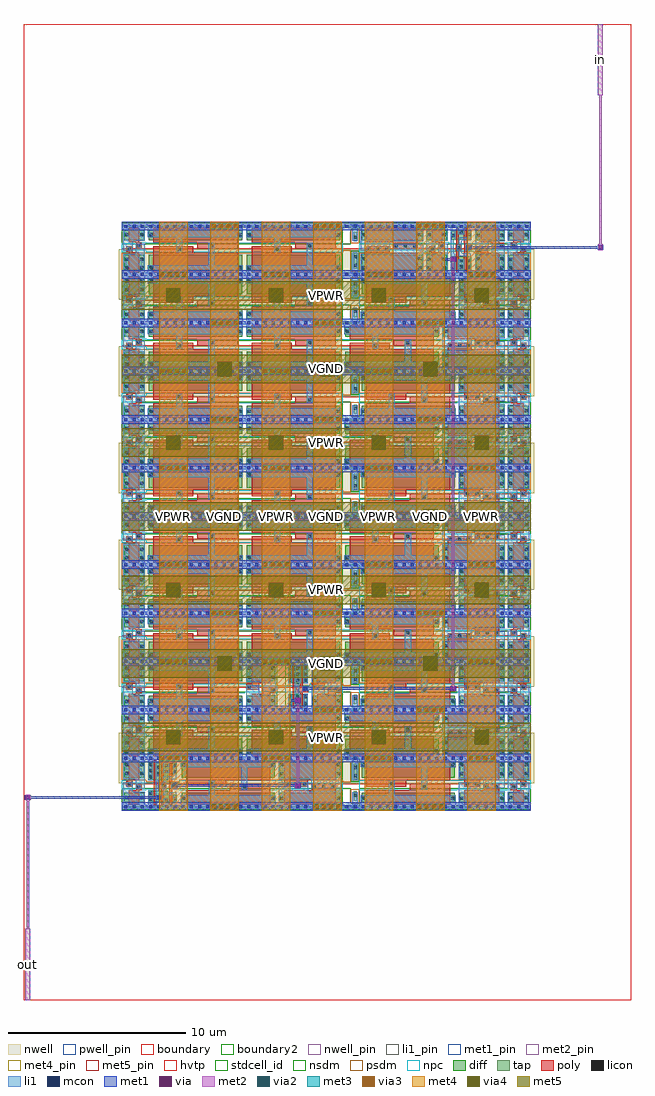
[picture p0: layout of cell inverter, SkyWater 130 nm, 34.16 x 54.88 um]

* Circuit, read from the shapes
.subckt inverter VGND VPWR in out
XM1 VGND VPWR VGND VGND sky130_fd_pr__nfet_01v8 w=0.55 l=0.59 m=25
XM2 VGND VPWR VGND VGND sky130_fd_pr__nfet_01v8 w=0.55 l=4.73 m=33
XM3 out n1 VGND VGND sky130_fd_pr__nfet_01v8 w=0.65 l=0.15 m=2
XM4 n1 sky130_fd_sc_hd__buf_2_4/A VGND VGND sky130_fd_pr__nfet_01v8 w=0.42 l=0.15
XM5 VGND VPWR VGND VGND sky130_fd_pr__nfet_01v8 w=0.55 l=1.05 m=3
XM6 VGND VPWR VGND VGND sky130_fd_pr__nfet_01v8 w=0.55 l=2.89 m=7
XM7 sky130_fd_sc_hd__buf_2_4/A sky130_fd_sc_hd__inv_2_20/A VGND VGND sky130_fd_pr__nfet_01v8 w=0.65 l=0.15 m=2
XM8 VGND n2 sky130_fd_sc_hd__inv_2_20/A VGND sky130_fd_pr__nfet_01v8 w=0.52 l=0.15
XM9 n2 in VGND VGND sky130_fd_pr__nfet_01v8 w=0.52 l=0.15
XM10 VGND VPWR VGND VGND sky130_fd_pr__nfet_01v8 w=0.55 l=1.97 m=6
XM11 VPWR VGND VPWR VPWR sky130_fd_pr__pfet_01v8_hvt w=0.87 l=0.59 m=25
XM12 VPWR VGND VPWR VPWR sky130_fd_pr__pfet_01v8_hvt w=0.87 l=4.73 m=33
XM13 out n1 VPWR VPWR sky130_fd_pr__pfet_01v8_hvt w=1 l=0.15 m=2
XM14 n1 sky130_fd_sc_hd__buf_2_4/A VPWR VPWR sky130_fd_pr__pfet_01v8_hvt w=0.64 l=0.15
XM15 VPWR VGND VPWR VPWR sky130_fd_pr__pfet_01v8_hvt w=0.87 l=1.05 m=3
XM16 VPWR VGND VPWR VPWR sky130_fd_pr__pfet_01v8_hvt w=0.87 l=2.89 m=7
XM17 sky130_fd_sc_hd__buf_2_4/A sky130_fd_sc_hd__inv_2_20/A VPWR VPWR sky130_fd_pr__pfet_01v8_hvt w=1 l=0.15 m=2
XM18 VPWR n2 sky130_fd_sc_hd__inv_2_20/A VPWR sky130_fd_pr__pfet_01v8_hvt w=0.79 l=0.15
XM19 n2 in VPWR VPWR sky130_fd_pr__pfet_01v8_hvt w=0.79 l=0.15
XM20 VPWR VGND VPWR VPWR sky130_fd_pr__pfet_01v8_hvt w=0.87 l=1.97 m=6
.ends

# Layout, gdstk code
from math import pi, radians
import gdstk
lib = gdstk.Library(unit=1e-6, precision=1e-09)
def R(c, l, rs):  # rectangles x0, y0, x1, y1
    for r in rs: c.add(gdstk.rectangle(r[:2], r[2:], *l))
def A(c, l, x, y, w, h, nx, ny, dx, dy):  # array of equal rectangles
    R(c, l, [(x+i*dx, y+j*dy, x+i*dx+w, y+j*dy+h) for i in range(nx) for j in range(ny)])
def P(c, l, *ps):  # polygons
    for p in ps: c.add(gdstk.Polygon(p, *l))
nwell_pin = (64, 16)
nwell = (64, 20)
diff = (65, 20)
tap = (65, 44)
poly = (66, 20)
licon = (66, 44)
li1_pin = (67, 16)
li1 = (67, 20)
mcon = (67, 44)
met1_pin = (68, 16)
met1 = (68, 20)
via = (68, 44)
met2_pin = (69, 16)
met2 = (69, 20)
via2 = (69, 44)
met3 = (70, 20)
via3 = (70, 44)
met4_pin = (71, 16)
met4 = (71, 20)
via4 = (71, 44)
met5_pin = (72, 16)
met5 = (72, 20)
hvtp = (78, 44)
stdcell_id = (81, 4)
nsdm = (93, 44)
psdm = (94, 20)
npc = (95, 20)
pwell_pin = (122, 16)
boundary = (235, 4)
boundary2 = (236, 0)

sky130_ef_sc_hd__decap_1 = lib.new_cell('sky130_ef_sc_hd__decap_12')
R(sky130_ef_sc_hd__decap_1, nwell_pin, [(0.145,2.635,0.315,2.805)])
R(sky130_ef_sc_hd__decap_1, nwell, [(-0.19,1.305,5.71,2.91)])
R(sky130_ef_sc_hd__decap_1, diff, [(0.135,0.235,5.385,0.785), (0.135,1.615,5.385,2.485)])
P(sky130_ef_sc_hd__decap_1, poly, [(5.125,2.615),(0.395,2.615),(0.395,1.125),(2.645,1.125),(2.645,1.485),(5.125,1.485)],
  [(5.125,1.275),(2.855,1.275),(2.855,0.915),(0.395,0.915),(0.395,0.105),(5.125,0.105)])
R(sky130_ef_sc_hd__decap_1, licon, [(0.175,0.39,0.345,0.56), (5.175,0.39,5.345,0.56), (3.575,1.025,3.745,1.195), (1.755,1.205,1.925,1.375), (0.175,2.255,0.345,2.425), (5.175,2.255,5.345,2.425)])
R(sky130_ef_sc_hd__decap_1, li1, [(0.085,0.085,5.43,0.63), (1.67,0.63,2.01,1.46), (3.49,0.95,3.84,2.2), (0.085,2.2,5.43,2.635), (0,2.635,5.52,2.805)])
P(sky130_ef_sc_hd__decap_1, li1, [(0,-0.085),(5.52,-0.085),(5.52,0.085),(0,0.085),(0,0)])
A(sky130_ef_sc_hd__decap_1, mcon, 0.145, -0.085, 0.17, 0.17, 12, 2, 0.46, 2.72)
R(sky130_ef_sc_hd__decap_1, met1_pin, [(0.145,-0.085,0.315,0.085), (0.145,2.635,0.315,2.805)])
R(sky130_ef_sc_hd__decap_1, hvtp, [(0,1.25,5.52,2.72)])
R(sky130_ef_sc_hd__decap_1, stdcell_id, [(0,0,5.52,2.72)])
R(sky130_ef_sc_hd__decap_1, nsdm, [(0,-0.19,5.52,1.015)])
R(sky130_ef_sc_hd__decap_1, psdm, [(0,1.485,5.52,2.91)])
R(sky130_ef_sc_hd__decap_1, npc, [(0,0.925,5.52,1.475)])
R(sky130_ef_sc_hd__decap_1, pwell_pin, [(0.145,-0.085,0.315,0.085)])
R(sky130_ef_sc_hd__decap_1, boundary2, [(0,0,5.52,2.72)])
sky130_ef_sc_hd__decap_1.add(gdstk.FlexPath([(0,2.72),(5.52,2.72)], 0.48, ends="flush", simple_path=True, layer=68, datatype=20))  # met1
sky130_ef_sc_hd__decap_1.add(gdstk.FlexPath([(0,0),(5.52,0)], 0.48, ends="flush", simple_path=True, layer=68, datatype=20))  # met1
sky130_ef_sc_hd__decap_1.add(gdstk.Label('VGND', (0.23,0), layer=68, texttype=5))
sky130_ef_sc_hd__decap_1.add(gdstk.Label('VPWR', (0.23,2.72), layer=68, texttype=5))
sky130_ef_sc_hd__decap_1.add(gdstk.Label('VPB', (0.23,2.72), layer=64, texttype=5))
sky130_ef_sc_hd__decap_1.add(gdstk.Label('VNB', (0.23,0), layer=64, texttype=59))
sky130_ef_sc_hd__decap_1.add(gdstk.Label('decap_12', (0,0), layer=83, texttype=44))

sky130_fd_sc_hd__decap_3 = lib.new_cell('sky130_fd_sc_hd__decap_3')
R(sky130_fd_sc_hd__decap_3, nwell_pin, [(0.145,2.635,0.315,2.805)])
R(sky130_fd_sc_hd__decap_3, nwell, [(-0.19,1.305,1.57,2.91)])
R(sky130_fd_sc_hd__decap_3, diff, [(0.135,0.235,1.245,0.785), (0.135,1.615,1.245,2.485)])
P(sky130_fd_sc_hd__decap_3, poly, [(1.125,1.255),(0.795,1.255),(0.795,0.915),(0.395,0.915),(0.395,0.105),(0.985,0.105),(0.985,0.925),(1.125,0.925)],
  [(0.985,2.615),(0.395,2.615),(0.395,1.455),(0.255,1.455),(0.255,1.125),(0.585,1.125),(0.585,1.465),(0.985,1.465)])
R(sky130_fd_sc_hd__decap_3, licon, [(0.175,0.4,0.345,0.57), (1.035,0.4,1.205,0.57), (0.875,1.005,1.045,1.175), (0.335,1.205,0.505,1.375), (0.175,1.78,0.345,1.95), (1.035,1.78,1.205,1.95), (0.175,2.255,0.345,2.425), (1.035,2.255,1.205,2.425)])
P(sky130_fd_sc_hd__decap_3, li1, [(1.38,2.805),(0,2.805),(0,2.635),(0.085,2.635),(0.085,1.545),(0.775,1.545),(0.775,1.005),(1.295,1.005),(1.295,2.635),(1.38,2.635)],
  [(1.38,0.085),(1.295,0.085),(1.295,0.835),(0.605,0.835),(0.605,1.375),(0.085,1.375),(0.085,0.085),(0,0.085),(0,-0.085),(1.38,-0.085)])
A(sky130_fd_sc_hd__decap_3, mcon, 0.145, -0.085, 0.17, 0.17, 3, 2, 0.46, 2.72)
R(sky130_fd_sc_hd__decap_3, met1_pin, [(0.145,-0.085,0.315,0.085), (0.145,2.635,0.315,2.805)])
R(sky130_fd_sc_hd__decap_3, hvtp, [(0,1.25,1.38,2.72)])
R(sky130_fd_sc_hd__decap_3, stdcell_id, [(0,0,1.38,2.72)])
R(sky130_fd_sc_hd__decap_3, nsdm, [(0,-0.19,1.38,1.015)])
R(sky130_fd_sc_hd__decap_3, psdm, [(0,1.485,1.38,2.91)])
P(sky130_fd_sc_hd__decap_3, npc, [(1.38,1.345),(0.605,1.345),(0.605,1.475),(0,1.475),(0,0.975),(0.775,0.975),(0.775,0.905),(1.38,0.905)])
R(sky130_fd_sc_hd__decap_3, pwell_pin, [(0.145,-0.085,0.315,0.085)])
R(sky130_fd_sc_hd__decap_3, boundary2, [(0,0,1.38,2.72)])
sky130_fd_sc_hd__decap_3.add(gdstk.FlexPath([(0,2.72),(1.38,2.72)], 0.48, ends="flush", simple_path=True, layer=68, datatype=20))  # met1
sky130_fd_sc_hd__decap_3.add(gdstk.FlexPath([(0,0),(1.38,0)], 0.48, ends="flush", simple_path=True, layer=68, datatype=20))  # met1
sky130_fd_sc_hd__decap_3.add(gdstk.Label('VPWR', (0.23,2.72), layer=68, texttype=5))
sky130_fd_sc_hd__decap_3.add(gdstk.Label('VGND', (0.23,0), layer=68, texttype=5))
sky130_fd_sc_hd__decap_3.add(gdstk.Label('VPB', (0.23,2.72), layer=64, texttype=5))
sky130_fd_sc_hd__decap_3.add(gdstk.Label('VNB', (0.23,0), layer=64, texttype=59))
sky130_fd_sc_hd__decap_3.add(gdstk.Label('decap_3', (0,0), layer=83, texttype=44))

sky130_fd_sc_hd__buf_2 = lib.new_cell('sky130_fd_sc_hd__buf_2')
R(sky130_fd_sc_hd__buf_2, nwell_pin, [(0.145,2.635,0.315,2.805)])
R(sky130_fd_sc_hd__buf_2, nwell, [(-0.19,1.305,2.03,2.91)])
P(sky130_fd_sc_hd__buf_2, diff, [(1.705,2.485),(0.62,2.485),(0.62,2.445),(0.135,2.445),(0.135,1.805),(0.62,1.805),(0.62,1.485),(1.705,1.485)],
  [(1.705,0.885),(0.62,0.885),(0.62,0.655),(0.135,0.655),(0.135,0.235),(1.705,0.235)])
P(sky130_fd_sc_hd__buf_2, poly, [(1.44,2.615),(1.29,2.615),(1.29,1.325),(1.02,1.325),(1.02,2.615),(0.87,2.615),(0.87,1.325),(0.755,1.325),(0.755,0.995),(0.87,0.995),(0.87,0.105),(1.02,0.105),(1.02,0.995),(1.29,0.995),(1.29,0.105),(1.44,0.105)],
  [(0.545,2.575),(0.395,2.575),(0.395,1.325),(0.135,1.325),(0.135,0.995),(0.395,0.995),(0.395,0.105),(0.545,0.105)])
A(sky130_fd_sc_hd__buf_2, licon, 1.49, 1.575, 0.17, 0.17, 1, 3, 0, 0.34)
R(sky130_fd_sc_hd__buf_2, licon, [(0.64,0.295,0.81,0.465), (1.49,0.315,1.66,0.485), (0.175,0.36,0.345,0.53), (1.07,0.445,1.24,0.615), (1.49,0.655,1.66,0.825), (0.185,1.075,0.355,1.245), (0.805,1.075,0.975,1.245), (1.07,1.73,1.24,1.9), (0.175,1.875,0.345,2.045), (0.64,1.875,0.81,2.045), (1.07,2.135,1.24,2.305), (0.175,2.215,0.345,2.385), (0.64,2.215,0.81,2.385)])
R(sky130_fd_sc_hd__buf_2, li1_pin, [(0.145,-0.085,0.315,0.085), (1.06,0.425,1.23,0.595), (0.145,1.105,0.315,1.275), (1.06,1.785,1.23,1.955), (1.06,2.125,1.23,2.295), (0.145,2.635,0.315,2.805)])
R(sky130_fd_sc_hd__buf_2, li1, [(0.085,0.985,0.44,1.355)])
P(sky130_fd_sc_hd__buf_2, li1, [(0.975,1.325),(0.89,1.325),(0.89,1.705),(0.345,1.705),(0.345,2.465),(0.175,2.465),(0.175,1.535),(0.72,1.535),(0.72,0.805),(0.175,0.805),(0.175,0.255),(0.345,0.255),(0.345,0.635),(0.89,0.635),(0.89,0.995),(0.975,0.995)],
  [(1.315,2.465),(1.06,2.465),(1.06,1.56),(1.145,1.56),(1.145,0.83),(1.06,0.83),(1.06,0.255),(1.315,0.255)],
  [(1.84,2.805),(0,2.805),(0,2.635),(0.56,2.635),(0.56,1.875),(0.89,1.875),(0.89,2.635),(1.49,2.635),(1.49,1.485),(1.75,1.485),(1.75,2.635),(1.84,2.635)],
  [(1.84,0.085),(1.75,0.085),(1.75,0.925),(1.49,0.925),(1.49,0.085),(0.89,0.085),(0.89,0.465),(0.56,0.465),(0.56,0.085),(0,0.085),(0,-0.085),(1.84,-0.085)])
A(sky130_fd_sc_hd__buf_2, mcon, 0.145, -0.085, 0.17, 0.17, 4, 2, 0.46, 2.72)
R(sky130_fd_sc_hd__buf_2, met1_pin, [(0.145,-0.085,0.315,0.085), (0.145,2.635,0.315,2.805)])
R(sky130_fd_sc_hd__buf_2, hvtp, [(0,1.25,1.84,2.72)])
R(sky130_fd_sc_hd__buf_2, stdcell_id, [(0,0,1.84,2.72)])
R(sky130_fd_sc_hd__buf_2, nsdm, [(0,-0.19,1.84,1.015)])
R(sky130_fd_sc_hd__buf_2, psdm, [(0,1.355,1.84,2.91)])
R(sky130_fd_sc_hd__buf_2, npc, [(0,0.975,1.84,1.345)])
R(sky130_fd_sc_hd__buf_2, pwell_pin, [(0.145,-0.085,0.315,0.085)])
R(sky130_fd_sc_hd__buf_2, boundary2, [(0,0,1.84,2.72)])
sky130_fd_sc_hd__buf_2.add(gdstk.FlexPath([(0,0),(1.84,0)], 0.48, ends="flush", simple_path=True, layer=68, datatype=20))  # met1
sky130_fd_sc_hd__buf_2.add(gdstk.FlexPath([(0,2.72),(1.84,2.72)], 0.48, ends="flush", simple_path=True, layer=68, datatype=20))  # met1
sky130_fd_sc_hd__buf_2.add(gdstk.Label('VPWR', (0.23,2.72), layer=68, texttype=5))
sky130_fd_sc_hd__buf_2.add(gdstk.Label('VGND', (0.23,0), layer=68, texttype=5))
sky130_fd_sc_hd__buf_2.add(gdstk.Label('VPWR', (0.23,2.72), layer=67, texttype=5))
sky130_fd_sc_hd__buf_2.add(gdstk.Label('VGND', (0.23,0), layer=67, texttype=5))
sky130_fd_sc_hd__buf_2.add(gdstk.Label('X', (1.145,0.51), layer=67, texttype=5))
sky130_fd_sc_hd__buf_2.add(gdstk.Label('X', (1.145,1.87), layer=67, texttype=5))
sky130_fd_sc_hd__buf_2.add(gdstk.Label('X', (1.145,2.21), layer=67, texttype=5))
sky130_fd_sc_hd__buf_2.add(gdstk.Label('A', (0.23,1.19), layer=67, texttype=5))
sky130_fd_sc_hd__buf_2.add(gdstk.Label('VPB', (0.23,2.72), layer=64, texttype=5))
sky130_fd_sc_hd__buf_2.add(gdstk.Label('VNB', (0.23,0), layer=64, texttype=59))
sky130_fd_sc_hd__buf_2.add(gdstk.Label('buf_2', (0,0), layer=83, texttype=44))

sky130_fd_sc_hd__decap_8 = lib.new_cell('sky130_fd_sc_hd__decap_8')
R(sky130_fd_sc_hd__decap_8, nwell_pin, [(0.145,2.635,0.315,2.805)])
R(sky130_fd_sc_hd__decap_8, nwell, [(-0.19,1.305,3.87,2.91)])
R(sky130_fd_sc_hd__decap_8, diff, [(0.135,0.235,3.545,0.785), (0.135,1.615,3.545,2.485)])
P(sky130_fd_sc_hd__decap_8, poly, [(3.285,2.615),(0.395,2.615),(0.395,1.125),(1.715,1.125),(1.715,1.485),(3.285,1.485)],
  [(3.285,1.275),(1.925,1.275),(1.925,0.915),(0.395,0.915),(0.395,0.105),(3.285,0.105)])
A(sky130_fd_sc_hd__decap_8, licon, 2.005, 1.025, 0.17, 0.17, 3, 1, 0.515, 0)
A(sky130_fd_sc_hd__decap_8, licon, 0.475, 1.205, 0.17, 0.17, 3, 1, 0.495, 0)
R(sky130_fd_sc_hd__decap_8, licon, [(0.175,0.39,0.345,0.56), (3.335,0.39,3.505,0.56), (0.175,1.745,0.345,1.915), (3.335,1.745,3.505,1.915), (0.175,2.255,0.345,2.425), (3.335,2.255,3.505,2.425)])
P(sky130_fd_sc_hd__decap_8, li1, [(3.68,0.085),(3.595,0.085),(3.595,0.855),(1.735,0.855),(1.735,1.375),(0.085,1.375),(0.085,0.085),(0,0.085),(0,-0.085),(3.68,-0.085)],
  [(3.68,2.805),(0,2.805),(0,2.635),(0.085,2.635),(0.085,1.545),(1.905,1.545),(1.905,1.025),(3.595,1.025),(3.595,2.635),(3.68,2.635)])
A(sky130_fd_sc_hd__decap_8, mcon, 0.145, -0.085, 0.17, 0.17, 8, 2, 0.46, 2.72)
R(sky130_fd_sc_hd__decap_8, met1_pin, [(0.145,-0.085,0.315,0.085), (0.145,2.635,0.315,2.805)])
R(sky130_fd_sc_hd__decap_8, hvtp, [(0,1.25,3.68,2.72)])
R(sky130_fd_sc_hd__decap_8, stdcell_id, [(0,0,3.68,2.72)])
R(sky130_fd_sc_hd__decap_8, nsdm, [(0,-0.19,3.68,1.015)])
R(sky130_fd_sc_hd__decap_8, psdm, [(0,1.485,3.68,2.91)])
P(sky130_fd_sc_hd__decap_8, npc, [(3.68,1.345),(1.735,1.345),(1.735,1.475),(0,1.475),(0,0.975),(1.905,0.975),(1.905,0.925),(3.68,0.925)])
R(sky130_fd_sc_hd__decap_8, pwell_pin, [(0.145,-0.085,0.315,0.085)])
R(sky130_fd_sc_hd__decap_8, boundary2, [(0,0,3.68,2.72)])
sky130_fd_sc_hd__decap_8.add(gdstk.FlexPath([(0,2.72),(3.68,2.72)], 0.48, ends="flush", simple_path=True, layer=68, datatype=20))  # met1
sky130_fd_sc_hd__decap_8.add(gdstk.FlexPath([(0,0),(3.68,0)], 0.48, ends="flush", simple_path=True, layer=68, datatype=20))  # met1
sky130_fd_sc_hd__decap_8.add(gdstk.Label('VPWR', (0.23,2.72), layer=68, texttype=5))
sky130_fd_sc_hd__decap_8.add(gdstk.Label('VGND', (0.23,0), layer=68, texttype=5))
sky130_fd_sc_hd__decap_8.add(gdstk.Label('VPB', (0.23,2.72), layer=64, texttype=5))
sky130_fd_sc_hd__decap_8.add(gdstk.Label('VNB', (0.23,0), layer=64, texttype=59))
sky130_fd_sc_hd__decap_8.add(gdstk.Label('decap_8', (0,0), layer=83, texttype=44))

sky130_fd_sc_hd__fill_1 = lib.new_cell('sky130_fd_sc_hd__fill_1')
R(sky130_fd_sc_hd__fill_1, nwell_pin, [(0.155,2.67,0.255,2.755)])
R(sky130_fd_sc_hd__fill_1, nwell, [(-0.19,1.305,0.65,2.91)])
R(sky130_fd_sc_hd__fill_1, mcon, [(0.145,-0.085,0.315,0.085), (0.145,2.635,0.315,2.805)])
R(sky130_fd_sc_hd__fill_1, met1_pin, [(0.11,-0.065,0.29,0.08), (0.11,2.635,0.29,2.785)])
R(sky130_fd_sc_hd__fill_1, hvtp, [(0,1.25,0.46,2.72)])
R(sky130_fd_sc_hd__fill_1, stdcell_id, [(0,0,0.46,2.72)])
R(sky130_fd_sc_hd__fill_1, nsdm, [(0,-0.19,0.46,1.015)])
R(sky130_fd_sc_hd__fill_1, psdm, [(0,1.355,0.46,2.91)])
R(sky130_fd_sc_hd__fill_1, pwell_pin, [(0.14,-0.055,0.26,0.055)])
sky130_fd_sc_hd__fill_1.add(gdstk.FlexPath([(0,0),(0.46,0)], 0.17, ends="flush", simple_path=True, layer=67, datatype=20))  # li1
sky130_fd_sc_hd__fill_1.add(gdstk.FlexPath([(0,2.72),(0.46,2.72)], 0.17, ends="flush", simple_path=True, layer=67, datatype=20))  # li1
sky130_fd_sc_hd__fill_1.add(gdstk.FlexPath([(0,2.72),(0.46,2.72)], 0.48, ends="flush", simple_path=True, layer=68, datatype=20))  # met1
sky130_fd_sc_hd__fill_1.add(gdstk.FlexPath([(0,0),(0.46,0)], 0.48, ends="flush", simple_path=True, layer=68, datatype=20))  # met1
sky130_fd_sc_hd__fill_1.add(gdstk.Label('VPWR', (0.205,2.72), layer=68, texttype=5))
sky130_fd_sc_hd__fill_1.add(gdstk.Label('VGND', (0.205,0), layer=68, texttype=5))
sky130_fd_sc_hd__fill_1.add(gdstk.Label('VPB', (0.23,2.72), layer=64, texttype=5))
sky130_fd_sc_hd__fill_1.add(gdstk.Label('VNB', (0.23,0), layer=64, texttype=59))
sky130_fd_sc_hd__fill_1.add(gdstk.Label('fill_1', (0,0), layer=83, texttype=44))

sky130_fd_sc_hd__tapvpwr = lib.new_cell('sky130_fd_sc_hd__tapvpwrvgnd_1')
R(sky130_fd_sc_hd__tapvpwr, nwell, [(-0.19,1.305,0.65,2.91)])
R(sky130_fd_sc_hd__tapvpwr, tap, [(0.145,0.32,0.315,0.845), (0.145,1.525,0.315,2.4)])
R(sky130_fd_sc_hd__tapvpwr, licon, [(0.145,0.555,0.315,0.725), (0.145,1.645,0.315,1.815), (0.145,2.11,0.315,2.28)])
R(sky130_fd_sc_hd__tapvpwr, li1, [(0,-0.085,0.46,0.085), (0.085,0,0.375,0.81), (0.085,1.47,0.375,2.72), (0,2.635,0.46,2.805)])
R(sky130_fd_sc_hd__tapvpwr, mcon, [(0.145,-0.085,0.315,0.085), (0.145,2.635,0.315,2.805)])
R(sky130_fd_sc_hd__tapvpwr, met1_pin, [(0.105,-0.09,0.36,0.1), (0.11,2.62,0.375,2.765)])
R(sky130_fd_sc_hd__tapvpwr, met1, [(0,-0.24,0.46,0.24), (0,2.48,0.46,2.96)])
R(sky130_fd_sc_hd__tapvpwr, hvtp, [(0,1.25,0.46,2.72)])
R(sky130_fd_sc_hd__tapvpwr, stdcell_id, [(0,0,0.46,2.72)])
R(sky130_fd_sc_hd__tapvpwr, nsdm, [(0,-0.19,0.46,0.19), (0,1.395,0.46,2.53)])
R(sky130_fd_sc_hd__tapvpwr, psdm, [(0,0.19,0.46,0.975), (0,2.53,0.46,2.91)])
sky130_fd_sc_hd__tapvpwr.add(gdstk.Label('VPWR', (0.23,2.72), layer=68, texttype=5))
sky130_fd_sc_hd__tapvpwr.add(gdstk.Label('VGND', (0.23,0), layer=68, texttype=5))
sky130_fd_sc_hd__tapvpwr.add(gdstk.Label('tapvpwrvgnd_1', (0,0), layer=83, texttype=44))

sky130_fd_sc_hd__decap_6 = lib.new_cell('sky130_fd_sc_hd__decap_6')
R(sky130_fd_sc_hd__decap_6, nwell_pin, [(0.145,2.635,0.315,2.805)])
R(sky130_fd_sc_hd__decap_6, nwell, [(-0.19,1.305,2.95,2.91)])
R(sky130_fd_sc_hd__decap_6, diff, [(0.135,0.235,2.625,0.785), (0.135,1.615,2.625,2.485)])
P(sky130_fd_sc_hd__decap_6, poly, [(2.365,2.615),(0.395,2.615),(0.395,1.125),(1.275,1.125),(1.275,1.485),(2.365,1.485)],
  [(2.365,1.275),(1.485,1.275),(1.485,0.915),(0.395,0.915),(0.395,0.105),(2.365,0.105)])
R(sky130_fd_sc_hd__decap_6, licon, [(0.175,0.39,0.345,0.56), (2.415,0.39,2.585,0.56), (1.565,1.025,1.735,1.195), (2.115,1.025,2.285,1.195), (0.475,1.205,0.645,1.375), (1.025,1.205,1.195,1.375), (0.175,1.745,0.345,1.915), (2.415,1.745,2.585,1.915), (0.175,2.255,0.345,2.425), (2.415,2.255,2.585,2.425)])
P(sky130_fd_sc_hd__decap_6, li1, [(2.76,0.085),(2.675,0.085),(2.675,0.855),(1.295,0.855),(1.295,1.375),(0.085,1.375),(0.085,0.085),(0,0.085),(0,-0.085),(2.76,-0.085)],
  [(2.76,2.805),(0,2.805),(0,2.635),(0.085,2.635),(0.085,1.545),(1.465,1.545),(1.465,1.025),(2.675,1.025),(2.675,2.635),(2.76,2.635)])
A(sky130_fd_sc_hd__decap_6, mcon, 0.145, -0.085, 0.17, 0.17, 6, 2, 0.46, 2.72)
R(sky130_fd_sc_hd__decap_6, met1_pin, [(0.145,-0.085,0.315,0.085), (0.145,2.635,0.315,2.805)])
R(sky130_fd_sc_hd__decap_6, hvtp, [(0,1.25,2.76,2.72)])
R(sky130_fd_sc_hd__decap_6, stdcell_id, [(0,0,2.76,2.72)])
R(sky130_fd_sc_hd__decap_6, nsdm, [(0,-0.19,2.76,1.015)])
R(sky130_fd_sc_hd__decap_6, psdm, [(0,1.485,2.76,2.91)])
P(sky130_fd_sc_hd__decap_6, npc, [(2.76,1.345),(1.295,1.345),(1.295,1.475),(0,1.475),(0,0.975),(1.465,0.975),(1.465,0.925),(2.76,0.925)])
R(sky130_fd_sc_hd__decap_6, pwell_pin, [(0.145,-0.085,0.315,0.085)])
R(sky130_fd_sc_hd__decap_6, boundary2, [(0,0,2.76,2.72)])
sky130_fd_sc_hd__decap_6.add(gdstk.FlexPath([(0,2.72),(2.76,2.72)], 0.48, ends="flush", simple_path=True, layer=68, datatype=20))  # met1
sky130_fd_sc_hd__decap_6.add(gdstk.FlexPath([(0,0),(2.76,0)], 0.48, ends="flush", simple_path=True, layer=68, datatype=20))  # met1
sky130_fd_sc_hd__decap_6.add(gdstk.Label('VPWR', (0.23,2.72), layer=68, texttype=5))
sky130_fd_sc_hd__decap_6.add(gdstk.Label('VGND', (0.23,0), layer=68, texttype=5))
sky130_fd_sc_hd__decap_6.add(gdstk.Label('VPB', (0.23,2.72), layer=64, texttype=5))
sky130_fd_sc_hd__decap_6.add(gdstk.Label('VNB', (0.23,0), layer=64, texttype=59))
sky130_fd_sc_hd__decap_6.add(gdstk.Label('decap_6', (0,0), layer=83, texttype=44))

sky130_fd_sc_hd__decap_4 = lib.new_cell('sky130_fd_sc_hd__decap_4')
R(sky130_fd_sc_hd__decap_4, nwell_pin, [(0.145,2.635,0.315,2.805)])
R(sky130_fd_sc_hd__decap_4, nwell, [(-0.19,1.305,2.03,2.91)])
R(sky130_fd_sc_hd__decap_4, diff, [(0.135,0.235,1.705,0.785), (0.135,1.615,1.705,2.485)])
P(sky130_fd_sc_hd__decap_4, poly, [(1.445,2.615),(0.395,2.615),(0.395,1.455),(0.105,1.455),(0.105,1.125),(0.815,1.125),(0.815,1.485),(1.445,1.485)],
  [(1.735,1.275),(1.025,1.275),(1.025,0.915),(0.395,0.915),(0.395,0.105),(1.445,0.105),(1.445,0.945),(1.735,0.945)])
R(sky130_fd_sc_hd__decap_4, licon, [(0.175,0.425,0.345,0.595), (1.495,0.425,1.665,0.595), (1.485,1.025,1.655,1.195), (0.185,1.205,0.355,1.375), (0.175,1.745,0.345,1.915), (1.495,1.745,1.665,1.915), (0.175,2.255,0.345,2.425), (1.495,2.255,1.665,2.425)])
P(sky130_fd_sc_hd__decap_4, li1, [(1.84,2.805),(0,2.805),(0,2.635),(0.085,2.635),(0.085,1.545),(1.005,1.545),(1.005,1.025),(1.755,1.025),(1.755,2.635),(1.84,2.635)],
  [(1.84,0.085),(1.755,0.085),(1.755,0.855),(0.835,0.855),(0.835,1.375),(0.085,1.375),(0.085,0.085),(0,0.085),(0,-0.085),(1.84,-0.085)])
A(sky130_fd_sc_hd__decap_4, mcon, 0.145, -0.085, 0.17, 0.17, 4, 2, 0.46, 2.72)
R(sky130_fd_sc_hd__decap_4, met1_pin, [(0.145,-0.085,0.315,0.085), (0.145,2.635,0.315,2.805)])
R(sky130_fd_sc_hd__decap_4, hvtp, [(0,1.25,1.84,2.72)])
R(sky130_fd_sc_hd__decap_4, stdcell_id, [(0,0,1.84,2.72)])
R(sky130_fd_sc_hd__decap_4, nsdm, [(0,-0.19,1.84,1.015)])
R(sky130_fd_sc_hd__decap_4, psdm, [(0,1.485,1.84,2.91)])
P(sky130_fd_sc_hd__decap_4, npc, [(1.84,1.345),(0.455,1.345),(0.455,1.475),(0,1.475),(0,0.975),(1.385,0.975),(1.385,0.925),(1.84,0.925)])
R(sky130_fd_sc_hd__decap_4, pwell_pin, [(0.145,-0.085,0.315,0.085)])
R(sky130_fd_sc_hd__decap_4, boundary2, [(0,0,1.84,2.72)])
sky130_fd_sc_hd__decap_4.add(gdstk.FlexPath([(0,2.72),(1.84,2.72)], 0.48, ends="flush", simple_path=True, layer=68, datatype=20))  # met1
sky130_fd_sc_hd__decap_4.add(gdstk.FlexPath([(0,0),(1.84,0)], 0.48, ends="flush", simple_path=True, layer=68, datatype=20))  # met1
sky130_fd_sc_hd__decap_4.add(gdstk.Label('VGND', (0.23,0), layer=68, texttype=5))
sky130_fd_sc_hd__decap_4.add(gdstk.Label('VPWR', (0.23,2.72), layer=68, texttype=5))
sky130_fd_sc_hd__decap_4.add(gdstk.Label('VPB', (0.23,2.72), layer=64, texttype=5))
sky130_fd_sc_hd__decap_4.add(gdstk.Label('VNB', (0.23,0), layer=64, texttype=59))
sky130_fd_sc_hd__decap_4.add(gdstk.Label('decap_4', (0,0), layer=83, texttype=44))

sky130_fd_sc_hd__inv_2 = lib.new_cell('sky130_fd_sc_hd__inv_2')
R(sky130_fd_sc_hd__inv_2, nwell_pin, [(0.145,2.635,0.315,2.805)])
R(sky130_fd_sc_hd__inv_2, nwell, [(-0.19,1.305,1.57,2.91)])
R(sky130_fd_sc_hd__inv_2, diff, [(0.145,0.235,1.235,0.885), (0.145,1.485,1.235,2.485)])
P(sky130_fd_sc_hd__inv_2, poly, [(0.975,2.615),(0.825,2.615),(0.825,1.325),(0.555,1.325),(0.555,2.615),(0.405,2.615),(0.405,1.325),(0.105,1.325),(0.105,0.995),(0.405,0.995),(0.405,0.105),(0.555,0.105),(0.555,0.995),(0.825,0.995),(0.825,0.105),(0.975,0.105)])
A(sky130_fd_sc_hd__inv_2, licon, 0.185, 0.295, 0.17, 0.17, 3, 2, 0.42, 0.36)
A(sky130_fd_sc_hd__inv_2, licon, 0.185, 1.575, 0.17, 0.17, 3, 3, 0.42, 0.34)
R(sky130_fd_sc_hd__inv_2, licon, [(0.185,1.075,0.355,1.245)])
A(sky130_fd_sc_hd__inv_2, li1_pin, 0.605, 0.765, 0.17, 0.17, 1, 3, 0, 0.34)
R(sky130_fd_sc_hd__inv_2, li1_pin, [(0.145,1.105,0.315,1.275)])
R(sky130_fd_sc_hd__inv_2, li1, [(0.105,1.075,0.435,1.325)])
P(sky130_fd_sc_hd__inv_2, li1, [(1.38,2.805),(0,2.805),(0,2.635),(0.125,2.635),(0.125,1.495),(0.355,1.495),(0.355,2.635),(1.025,2.635),(1.025,1.495),(1.235,1.495),(1.235,2.635),(1.38,2.635)],
  [(0.855,2.465),(0.525,2.465),(0.525,1.485),(0.605,1.485),(0.605,0.885),(0.525,0.885),(0.525,0.255),(0.855,0.255)],
  [(1.38,0.085),(1.235,0.085),(1.235,0.905),(1.025,0.905),(1.025,0.085),(0.355,0.085),(0.355,0.905),(0.125,0.905),(0.125,0.085),(0,0.085),(0,-0.085),(1.38,-0.085)])
A(sky130_fd_sc_hd__inv_2, mcon, 0.145, -0.085, 0.17, 0.17, 3, 2, 0.46, 2.72)
R(sky130_fd_sc_hd__inv_2, met1_pin, [(0.145,-0.085,0.315,0.085), (0.145,2.635,0.315,2.805)])
R(sky130_fd_sc_hd__inv_2, hvtp, [(0,1.25,1.38,2.72)])
R(sky130_fd_sc_hd__inv_2, stdcell_id, [(0,0,1.38,2.72)])
R(sky130_fd_sc_hd__inv_2, nsdm, [(0,-0.19,1.38,1.015)])
R(sky130_fd_sc_hd__inv_2, psdm, [(0,1.355,1.38,2.91)])
R(sky130_fd_sc_hd__inv_2, npc, [(0,0.975,1.38,1.345)])
R(sky130_fd_sc_hd__inv_2, pwell_pin, [(0.145,-0.085,0.315,0.085)])
R(sky130_fd_sc_hd__inv_2, boundary2, [(0,0,1.38,2.72)])
sky130_fd_sc_hd__inv_2.add(gdstk.FlexPath([(0,2.72),(1.38,2.72)], 0.48, ends="flush", simple_path=True, layer=68, datatype=20))  # met1
sky130_fd_sc_hd__inv_2.add(gdstk.FlexPath([(0,0),(1.38,0)], 0.48, ends="flush", simple_path=True, layer=68, datatype=20))  # met1
sky130_fd_sc_hd__inv_2.add(gdstk.Label('A', (0.23,1.19), layer=67, texttype=5))
sky130_fd_sc_hd__inv_2.add(gdstk.Label('Y', (0.69,0.85), layer=67, texttype=5))
sky130_fd_sc_hd__inv_2.add(gdstk.Label('Y', (0.69,1.53), layer=67, texttype=5))
sky130_fd_sc_hd__inv_2.add(gdstk.Label('Y', (0.69,1.19), layer=67, texttype=5))
sky130_fd_sc_hd__inv_2.add(gdstk.Label('VPB', (0.23,2.72), layer=64, texttype=5))
sky130_fd_sc_hd__inv_2.add(gdstk.Label('VNB', (0.23,0), layer=64, texttype=59))
sky130_fd_sc_hd__inv_2.add(gdstk.Label('VPWR', (0.23,2.72), layer=68, texttype=5))
sky130_fd_sc_hd__inv_2.add(gdstk.Label('VGND', (0.23,0), layer=68, texttype=5))
sky130_fd_sc_hd__inv_2.add(gdstk.Label('inv_2', (0,0), layer=83, texttype=44))

sky130_fd_sc_hd__clkbuf_ = lib.new_cell('sky130_fd_sc_hd__clkbuf_1')
R(sky130_fd_sc_hd__clkbuf_, nwell_pin, [(1.065,2.635,1.235,2.805)])
R(sky130_fd_sc_hd__clkbuf_, nwell, [(-0.19,1.305,1.57,2.91)])
R(sky130_fd_sc_hd__clkbuf_, diff, [(0.135,0.235,1.245,0.755), (0.135,1.695,1.245,2.485)])
P(sky130_fd_sc_hd__clkbuf_, poly, [(0.375,1.39),(0.395,1.39),(0.395,2.615),(0.545,2.615),(0.545,1.39),(0.645,1.39),(0.645,1.06),(0.545,1.06),(0.545,0.105),(0.395,0.105),(0.395,1.06),(0.375,1.06)],
  [(1.245,1.325),(1.015,1.325),(1.015,1.62),(0.985,1.62),(0.985,2.615),(0.835,2.615),(0.835,1.5),(0.865,1.5),(0.865,0.95),(0.835,0.95),(0.835,0.105),(0.985,0.105),(0.985,0.83),(1.015,0.83),(1.015,0.995),(1.245,0.995)])
A(sky130_fd_sc_hd__clkbuf_, licon, 0.175, 2.215, 0.17, 0.17, 3, 1, 0.43, 0)
R(sky130_fd_sc_hd__clkbuf_, licon, [(0.605,0.295,0.775,0.465), (1.035,0.36,1.205,0.53), (0.175,0.445,0.345,0.615), (1.025,1.075,1.195,1.245), (0.425,1.14,0.595,1.31), (0.175,1.81,0.345,1.98), (0.605,1.875,0.775,2.045), (1.035,1.875,1.205,2.045)])
R(sky130_fd_sc_hd__clkbuf_, li1_pin, [(0.145,0.425,0.315,0.595), (1.065,1.105,1.235,1.275), (0.145,1.785,0.315,1.955), (0.145,2.125,0.315,2.295)])
R(sky130_fd_sc_hd__clkbuf_, li1, [(0.945,0.985,1.275,1.355)])
P(sky130_fd_sc_hd__clkbuf_, li1, [(0.085,2.465),(0.355,2.465),(0.355,1.56),(0.255,1.56),(0.255,0.76),(0.345,0.76),(0.345,0.255),(0.085,0.255)],
  [(0,0.085),(0.525,0.085),(0.525,0.465),(0.855,0.465),(0.855,0.085),(1.38,0.085),(1.38,-0.085),(0,-0.085)],
  [(0.425,1.39),(0.54,1.39),(0.54,1.705),(1.035,1.705),(1.035,2.465),(1.205,2.465),(1.205,1.535),(0.71,1.535),(0.71,0.805),(1.205,0.805),(1.205,0.255),(1.035,0.255),(1.035,0.635),(0.54,0.635),(0.54,1.06),(0.425,1.06)],
  [(0,2.805),(1.38,2.805),(1.38,2.635),(0.855,2.635),(0.855,1.875),(0.525,1.875),(0.525,2.635),(0,2.635)])
A(sky130_fd_sc_hd__clkbuf_, mcon, 0.145, -0.085, 0.17, 0.17, 3, 2, 0.46, 2.72)
R(sky130_fd_sc_hd__clkbuf_, met1_pin, [(1.065,-0.085,1.235,0.085), (1.065,2.635,1.235,2.805)])
R(sky130_fd_sc_hd__clkbuf_, hvtp, [(0,1.25,1.38,2.72)])
R(sky130_fd_sc_hd__clkbuf_, stdcell_id, [(0,0,1.38,2.72)])
R(sky130_fd_sc_hd__clkbuf_, nsdm, [(0,-0.19,1.38,1.015)])
R(sky130_fd_sc_hd__clkbuf_, psdm, [(0,1.42,1.38,2.91)])
R(sky130_fd_sc_hd__clkbuf_, npc, [(0,0.975,1.38,1.41)])
R(sky130_fd_sc_hd__clkbuf_, pwell_pin, [(1.065,-0.085,1.235,0.085)])
R(sky130_fd_sc_hd__clkbuf_, boundary2, [(0,0,1.38,2.72)])
sky130_fd_sc_hd__clkbuf_.add(gdstk.FlexPath([(1.38,0),(0,0)], 0.48, ends="flush", simple_path=True, layer=68, datatype=20))  # met1
sky130_fd_sc_hd__clkbuf_.add(gdstk.FlexPath([(1.38,2.72),(0,2.72)], 0.48, ends="flush", simple_path=True, layer=68, datatype=20))  # met1
sky130_fd_sc_hd__clkbuf_.add(gdstk.Label('VGND', (1.15,0), layer=68, texttype=5))
sky130_fd_sc_hd__clkbuf_.add(gdstk.Label('VPWR', (1.15,2.72), layer=68, texttype=5))
sky130_fd_sc_hd__clkbuf_.add(gdstk.Label('X', (0.23,0.51), layer=67, texttype=5))
sky130_fd_sc_hd__clkbuf_.add(gdstk.Label('X', (0.23,1.87), layer=67, texttype=5))
sky130_fd_sc_hd__clkbuf_.add(gdstk.Label('X', (0.23,2.21), layer=67, texttype=5))
sky130_fd_sc_hd__clkbuf_.add(gdstk.Label('A', (1.15,1.19), layer=67, texttype=5))
sky130_fd_sc_hd__clkbuf_.add(gdstk.Label('VPB', (1.15,2.72), layer=64, texttype=5))
sky130_fd_sc_hd__clkbuf_.add(gdstk.Label('VNB', (1.15,0), layer=64, texttype=59))
sky130_fd_sc_hd__clkbuf_.add(gdstk.Label('clkbuf_1', (0,0), layer=83, texttype=44))

inverter = lib.new_cell('inverter')
R(inverter, li1, [(7.505,11.305,7.675,11.475), (8.425,11.985,8.595,12.155), (15.325,16.745,15.495,16.915), (15.785,17.425,15.955,17.595), (24.065,41.565,24.235,41.735), (24.985,42.245,25.155,42.415)])
R(inverter, mcon, [(7.505,11.305,7.675,11.475), (8.425,11.985,8.595,12.155), (15.325,16.745,15.495,16.915), (15.785,17.425,15.955,17.595), (24.065,41.565,24.235,41.735), (24.985,42.245,25.155,42.415)])
A(inverter, met1, 5.52, 10.64, 23, 0.48, 1, 13, 0, 2.72)
R(inverter, met1, [(0.07,11.26,0.39,11.32), (7.445,11.275,7.735,11.32), (0.07,11.32,7.735,11.46), (0.07,11.46,0.39,11.52), (7.445,11.46,7.735,11.505), (15.25,11.94,15.57,12), (8.365,11.955,8.655,12), (8.365,12,15.57,12.14), (8.365,12.14,8.655,12.185), (15.25,12.14,15.57,12.2), (15.25,16.7,15.57,16.76), (15.055,16.76,15.57,16.9), (15.25,16.9,15.57,16.96), (23.99,17.38,24.31,17.44), (15.725,17.395,16.015,17.44), (15.725,17.44,24.31,17.58), (15.725,17.58,16.015,17.625), (23.99,17.58,24.31,17.64), (23.99,41.52,24.31,41.58), (23.795,41.58,24.31,41.72), (23.99,41.72,24.31,41.78), (32.27,42.2,32.59,42.26), (24.925,42.215,25.215,42.26), (24.925,42.26,32.59,42.4), (24.925,42.4,25.215,42.445), (32.27,42.4,32.59,42.46)])
A(inverter, via, 10.585, 10.805, 0.15, 0.15, 5, 7, 0.32, 5.44)
A(inverter, via, 16.365, 10.805, 0.15, 0.15, 5, 7, 0.32, 5.44)
A(inverter, via, 22.145, 10.805, 0.15, 0.15, 5, 7, 0.32, 5.44)
A(inverter, via, 7.695, 13.525, 0.15, 0.15, 5, 6, 0.32, 5.44)
A(inverter, via, 13.475, 13.525, 0.15, 0.15, 5, 6, 0.32, 5.44)
A(inverter, via, 19.255, 13.525, 0.15, 0.15, 5, 6, 0.32, 5.44)
A(inverter, via, 25.04, 13.525, 0.15, 0.15, 5, 6, 0.32, 5.44)
R(inverter, via, [(0.155,11.315,0.305,11.465), (15.335,11.995,15.485,12.145), (15.335,16.755,15.485,16.905), (24.075,17.435,24.225,17.585), (24.075,41.575,24.225,41.725), (32.355,42.255,32.505,42.405)])
R(inverter, met2_pin, [(0.09,0,0.37,4), (32.29,50.885,32.57,54.885)])
A(inverter, met2, 10.53, 10.64, 1.54, 0.48, 3, 7, 5.78, 5.44)
A(inverter, met2, 7.64, 13.36, 1.54, 0.48, 3, 6, 5.78, 5.44)
A(inverter, met2, 24.985, 13.36, 1.54, 0.48, 1, 6, 0, 5.44)
R(inverter, met2, [(0.09,0,0.37,4), (0.16,4,0.3,11.23), (0.1,11.23,0.36,11.55), (15.28,11.91,15.54,12.23), (15.34,12.23,15.48,16.67), (15.28,16.67,15.54,16.99), (24.02,17.35,24.28,17.67), (24.08,17.67,24.22,41.49), (24.02,41.49,24.28,41.81), (32.3,42.17,32.56,42.49), (32.36,42.49,32.5,50.885), (32.29,50.885,32.57,54.885)])
A(inverter, via2, 10.6, 10.78, 0.2, 0.2, 4, 7, 0.4, 5.44)
A(inverter, via2, 16.38, 10.78, 0.2, 0.2, 4, 7, 0.4, 5.44)
A(inverter, via2, 22.16, 10.78, 0.2, 0.2, 4, 7, 0.4, 5.44)
A(inverter, via2, 7.71, 13.5, 0.2, 0.2, 4, 6, 0.4, 5.44)
A(inverter, via2, 13.49, 13.5, 0.2, 0.2, 4, 6, 0.4, 5.44)
A(inverter, via2, 19.27, 13.5, 0.2, 0.2, 4, 6, 0.4, 5.44)
A(inverter, via2, 25.055, 13.5, 0.2, 0.2, 4, 6, 0.4, 5.44)
A(inverter, met3, 10.5, 10.715, 1.6, 0.33, 3, 7, 5.78, 5.44)
A(inverter, met3, 7.61, 13.435, 1.6, 0.33, 3, 6, 5.78, 5.44)
A(inverter, met3, 24.955, 13.435, 1.6, 0.33, 1, 6, 0, 5.44)
A(inverter, via3, 10.6, 10.78, 0.2, 0.2, 4, 7, 0.4, 5.44)
A(inverter, via3, 16.38, 10.78, 0.2, 0.2, 4, 7, 0.4, 5.44)
A(inverter, via3, 22.16, 10.78, 0.2, 0.2, 4, 7, 0.4, 5.44)
A(inverter, via3, 7.71, 13.5, 0.2, 0.2, 4, 6, 0.4, 5.44)
A(inverter, via3, 13.49, 13.5, 0.2, 0.2, 4, 6, 0.4, 5.44)
A(inverter, via3, 19.27, 13.5, 0.2, 0.2, 4, 6, 0.4, 5.44)
A(inverter, via3, 25.055, 13.5, 0.2, 0.2, 4, 6, 0.4, 5.44)
A(inverter, met4_pin, 10.505, 10.64, 1.6, 33.12, 6, 1, 2.89, 0)
R(inverter, met4_pin, [(7.61,10.64,9.21,43.76)])
A(inverter, met4, 10.5, 10.64, 1.605, 33.12, 5, 1, 2.89, 0)
R(inverter, met4, [(7.61,10.64,9.21,43.76), (24.955,10.64,26.555,43.76)])
A(inverter, via4, 8.01, 14.38, 0.8, 0.8, 3, 3, 5.78, 8.28)
A(inverter, via4, 25.355, 14.38, 0.8, 0.8, 1, 3, 0, 8.28)
A(inverter, via4, 10.9, 18.52, 0.8, 0.8, 3, 3, 5.78, 8.28)
A(inverter, via4, 8.01, 39.225, 0.8, 0.8, 3, 1, 5.78, 0)
R(inverter, via4, [(25.355,39.225,26.155,40.025)])
A(inverter, met5_pin, 5.52, 13.98, 23, 1.6, 1, 4, 0, 4.14)
A(inverter, met5_pin, 5.52, 30.545, 23, 1.6, 1, 3, 0, 4.14)
A(inverter, met5, 5.52, 13.98, 23, 1.6, 1, 4, 0, 4.14)
R(inverter, met5, [(5.52,30.54,28.52,32.145), (5.52,34.68,28.52,36.285), (5.52,38.825,28.52,40.425)])
R(inverter, boundary, [(0,0,34.165,54.885)])
inverter.add(gdstk.Reference(sky130_ef_sc_hd__decap_1, (8.74,10.88)))
inverter.add(gdstk.Reference(sky130_ef_sc_hd__decap_1, (6.9,16.32), x_reflection=True))
inverter.add(gdstk.Reference(sky130_fd_sc_hd__decap_3, (5.52,10.88)))
inverter.add(gdstk.Reference(sky130_fd_sc_hd__decap_3, (5.52,16.32), x_reflection=True))
inverter.add(gdstk.Reference(sky130_fd_sc_hd__buf_2, (8.74,10.88), rotation=pi, x_reflection=True))
inverter.add(gdstk.Reference(sky130_fd_sc_hd__decap_8, (14.26,10.88)))
inverter.add(gdstk.Reference(sky130_ef_sc_hd__decap_1, (12.42,16.32), x_reflection=True))
inverter.add(gdstk.Reference(sky130_fd_sc_hd__fill_1, (17.94,10.88)))
inverter.add(gdstk.Reference(sky130_ef_sc_hd__decap_1, (18.86,10.88)))
inverter.add(gdstk.Reference(sky130_ef_sc_hd__decap_1, (17.94,16.32), x_reflection=True))
inverter.add(gdstk.Reference(sky130_fd_sc_hd__tapvpwr, (18.4,10.88)))
inverter.add(gdstk.Reference(sky130_fd_sc_hd__decap_6, (24.38,10.88)))
inverter.add(gdstk.Reference(sky130_fd_sc_hd__decap_8, (23.46,16.32), x_reflection=True))
inverter.add(gdstk.Reference(sky130_fd_sc_hd__decap_3, (28.52,10.88), rotation=pi, x_reflection=True))
inverter.add(gdstk.Reference(sky130_fd_sc_hd__decap_3, (28.52,16.32), rotation=pi))
inverter.add(gdstk.Reference(sky130_ef_sc_hd__decap_1, (6.9,16.32)))
inverter.add(gdstk.Reference(sky130_fd_sc_hd__decap_3, (5.52,16.32)))
inverter.add(gdstk.Reference(sky130_fd_sc_hd__decap_4, (12.42,16.32)))
inverter.add(gdstk.Reference(sky130_fd_sc_hd__fill_1, (14.26,16.32)))
inverter.add(gdstk.Reference(sky130_fd_sc_hd__decap_4, (16.1,16.32)))
inverter.add(gdstk.Reference(sky130_fd_sc_hd__inv_2, (16.1,16.32), rotation=pi, x_reflection=True))
inverter.add(gdstk.Reference(sky130_fd_sc_hd__fill_1, (17.94,16.32)))
inverter.add(gdstk.Reference(sky130_ef_sc_hd__decap_1, (18.86,16.32)))
inverter.add(gdstk.Reference(sky130_fd_sc_hd__tapvpwr, (18.4,16.32)))
inverter.add(gdstk.Reference(sky130_fd_sc_hd__decap_6, (24.38,16.32)))
inverter.add(gdstk.Reference(sky130_fd_sc_hd__decap_3, (28.52,16.32), rotation=pi, x_reflection=True))
inverter.add(gdstk.Reference(sky130_ef_sc_hd__decap_1, (6.9,21.76), x_reflection=True))
inverter.add(gdstk.Reference(sky130_fd_sc_hd__decap_3, (5.52,21.76), x_reflection=True))
inverter.add(gdstk.Reference(sky130_ef_sc_hd__decap_1, (12.42,21.76), x_reflection=True))
inverter.add(gdstk.Reference(sky130_ef_sc_hd__decap_1, (17.94,21.76), x_reflection=True))
inverter.add(gdstk.Reference(sky130_fd_sc_hd__decap_8, (23.46,21.76), x_reflection=True))
inverter.add(gdstk.Reference(sky130_fd_sc_hd__decap_3, (28.52,21.76), rotation=pi))
inverter.add(gdstk.Reference(sky130_ef_sc_hd__decap_1, (6.9,21.76)))
inverter.add(gdstk.Reference(sky130_fd_sc_hd__decap_3, (5.52,21.76)))
inverter.add(gdstk.Reference(sky130_ef_sc_hd__decap_1, (12.42,21.76)))
inverter.add(gdstk.Reference(sky130_fd_sc_hd__fill_1, (17.94,21.76)))
inverter.add(gdstk.Reference(sky130_ef_sc_hd__decap_1, (18.86,21.76)))
inverter.add(gdstk.Reference(sky130_fd_sc_hd__tapvpwr, (18.4,21.76)))
inverter.add(gdstk.Reference(sky130_fd_sc_hd__decap_6, (24.38,21.76)))
inverter.add(gdstk.Reference(sky130_fd_sc_hd__decap_3, (28.52,21.76), rotation=pi, x_reflection=True))
inverter.add(gdstk.Reference(sky130_ef_sc_hd__decap_1, (6.9,27.2), x_reflection=True))
inverter.add(gdstk.Reference(sky130_fd_sc_hd__decap_3, (5.52,27.2), x_reflection=True))
inverter.add(gdstk.Reference(sky130_ef_sc_hd__decap_1, (12.42,27.2), x_reflection=True))
inverter.add(gdstk.Reference(sky130_ef_sc_hd__decap_1, (17.94,27.2), x_reflection=True))
inverter.add(gdstk.Reference(sky130_fd_sc_hd__decap_8, (23.46,27.2), x_reflection=True))
inverter.add(gdstk.Reference(sky130_fd_sc_hd__decap_3, (28.52,27.2), rotation=pi))
inverter.add(gdstk.Reference(sky130_ef_sc_hd__decap_1, (6.9,27.2)))
inverter.add(gdstk.Reference(sky130_ef_sc_hd__decap_1, (6.9,32.64), x_reflection=True))
inverter.add(gdstk.Reference(sky130_fd_sc_hd__decap_3, (5.52,27.2)))
inverter.add(gdstk.Reference(sky130_fd_sc_hd__decap_3, (5.52,32.64), x_reflection=True))
inverter.add(gdstk.Reference(sky130_ef_sc_hd__decap_1, (12.42,27.2)))
inverter.add(gdstk.Reference(sky130_ef_sc_hd__decap_1, (12.42,32.64), x_reflection=True))
inverter.add(gdstk.Reference(sky130_fd_sc_hd__fill_1, (17.94,27.2)))
inverter.add(gdstk.Reference(sky130_ef_sc_hd__decap_1, (18.86,27.2)))
inverter.add(gdstk.Reference(sky130_ef_sc_hd__decap_1, (17.94,32.64), x_reflection=True))
inverter.add(gdstk.Reference(sky130_fd_sc_hd__tapvpwr, (18.4,27.2)))
inverter.add(gdstk.Reference(sky130_fd_sc_hd__decap_6, (24.38,27.2)))
inverter.add(gdstk.Reference(sky130_fd_sc_hd__decap_8, (23.46,32.64), x_reflection=True))
inverter.add(gdstk.Reference(sky130_fd_sc_hd__decap_3, (28.52,27.2), rotation=pi, x_reflection=True))
inverter.add(gdstk.Reference(sky130_fd_sc_hd__decap_3, (28.52,32.64), rotation=pi))
inverter.add(gdstk.Reference(sky130_ef_sc_hd__decap_1, (6.9,32.64)))
inverter.add(gdstk.Reference(sky130_fd_sc_hd__decap_3, (5.52,32.64)))
inverter.add(gdstk.Reference(sky130_ef_sc_hd__decap_1, (12.42,32.64)))
inverter.add(gdstk.Reference(sky130_fd_sc_hd__fill_1, (17.94,32.64)))
inverter.add(gdstk.Reference(sky130_ef_sc_hd__decap_1, (18.86,32.64)))
inverter.add(gdstk.Reference(sky130_fd_sc_hd__tapvpwr, (18.4,32.64)))
inverter.add(gdstk.Reference(sky130_fd_sc_hd__decap_6, (24.38,32.64)))
inverter.add(gdstk.Reference(sky130_fd_sc_hd__decap_3, (28.52,32.64), rotation=pi, x_reflection=True))
inverter.add(gdstk.Reference(sky130_ef_sc_hd__decap_1, (6.9,38.08), x_reflection=True))
inverter.add(gdstk.Reference(sky130_fd_sc_hd__decap_3, (5.52,38.08), x_reflection=True))
inverter.add(gdstk.Reference(sky130_ef_sc_hd__decap_1, (12.42,38.08), x_reflection=True))
inverter.add(gdstk.Reference(sky130_ef_sc_hd__decap_1, (17.94,38.08), x_reflection=True))
inverter.add(gdstk.Reference(sky130_fd_sc_hd__decap_8, (23.46,38.08), x_reflection=True))
inverter.add(gdstk.Reference(sky130_fd_sc_hd__decap_3, (28.52,38.08), rotation=pi))
inverter.add(gdstk.Reference(sky130_ef_sc_hd__decap_1, (6.9,38.08)))
inverter.add(gdstk.Reference(sky130_fd_sc_hd__decap_3, (5.52,38.08)))
inverter.add(gdstk.Reference(sky130_ef_sc_hd__decap_1, (12.42,38.08)))
inverter.add(gdstk.Reference(sky130_fd_sc_hd__fill_1, (17.94,38.08)))
inverter.add(gdstk.Reference(sky130_ef_sc_hd__decap_1, (18.86,38.08)))
inverter.add(gdstk.Reference(sky130_fd_sc_hd__tapvpwr, (18.4,38.08)))
inverter.add(gdstk.Reference(sky130_fd_sc_hd__decap_6, (24.38,38.08)))
inverter.add(gdstk.Reference(sky130_fd_sc_hd__decap_3, (28.52,38.08), rotation=pi, x_reflection=True))
inverter.add(gdstk.Reference(sky130_ef_sc_hd__decap_1, (6.9,43.52), x_reflection=True))
inverter.add(gdstk.Reference(sky130_fd_sc_hd__decap_3, (5.52,43.52), x_reflection=True))
inverter.add(gdstk.Reference(sky130_ef_sc_hd__decap_1, (12.42,43.52), x_reflection=True))
inverter.add(gdstk.Reference(sky130_fd_sc_hd__fill_1, (17.94,43.52), x_reflection=True))
inverter.add(gdstk.Reference(sky130_fd_sc_hd__decap_8, (18.86,43.52), x_reflection=True))
inverter.add(gdstk.Reference(sky130_fd_sc_hd__decap_3, (22.54,43.52), x_reflection=True))
inverter.add(gdstk.Reference(sky130_fd_sc_hd__tapvpwr, (18.4,43.52), x_reflection=True))
inverter.add(gdstk.Reference(sky130_fd_sc_hd__decap_4, (25.3,43.52), x_reflection=True))
inverter.add(gdstk.Reference(sky130_fd_sc_hd__decap_3, (28.52,43.52), rotation=pi))
inverter.add(gdstk.Reference(sky130_fd_sc_hd__clkbuf_, (23.92,43.52), x_reflection=True))
inverter.add(gdstk.Label('VGND', (17.02,18.92), layer=72, texttype=16))
inverter.add(gdstk.Label('VGND', (17.02,27.2), layer=72, texttype=16))
inverter.add(gdstk.Label('VGND', (17.02,35.485), layer=72, texttype=16))
inverter.add(gdstk.Label('VGND', (11.305,27.2), layer=71, texttype=16))
inverter.add(gdstk.Label('VGND', (17.085,27.2), layer=71, texttype=16))
inverter.add(gdstk.Label('VGND', (22.865,27.2), layer=71, texttype=16))
inverter.add(gdstk.Label('VPWR', (17.02,14.78), layer=72, texttype=16))
inverter.add(gdstk.Label('VPWR', (17.02,23.06), layer=72, texttype=16))
inverter.add(gdstk.Label('VPWR', (17.02,31.345), layer=72, texttype=16))
inverter.add(gdstk.Label('VPWR', (17.02,39.625), layer=72, texttype=16))
inverter.add(gdstk.Label('VPWR', (8.41,27.2), layer=71, texttype=16))
inverter.add(gdstk.Label('VPWR', (14.195,27.2), layer=71, texttype=16))
inverter.add(gdstk.Label('VPWR', (19.975,27.2), layer=71, texttype=16))
inverter.add(gdstk.Label('VPWR', (25.755,27.2), layer=71, texttype=16))
inverter.add(gdstk.Label('in', (32.43,52.885), layer=69, texttype=16))
inverter.add(gdstk.Label('out', (0.23,2), layer=69, texttype=16))

lib.write_gds('inverter.gds')
